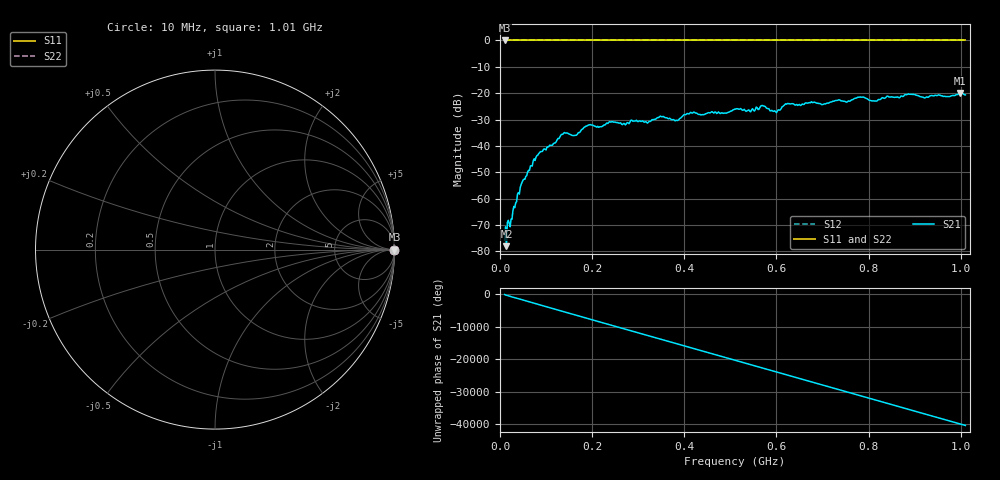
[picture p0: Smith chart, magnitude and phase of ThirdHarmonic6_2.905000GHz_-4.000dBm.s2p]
! 8/17/2025 8:02:15 AM
! C:\ANRITSUVNA\TEMP\TEMP.S2P
! CHANNEL.1
! TR.MEASUREMENT
! RAW.DATA
! RF.CORRECTION.OFF
! AVERAGING.OFF
! IF.BANDWIDTH: 5KHZ
! SWEEPTYPE:  FREQ.SWEEP(Linear)
! Reference Plane Port Info
! PORT:  PORT1  PORT2
! DISTANCE:  0  m  0  m
! TIME:  0  s  0  s
! PHASE.OFFSET:  0  deg.  0  deg.
! LOSS:  0  dB  0  dB
! REF.LOSS:  0  dB  0  dB
! REF.FREQ:  0  Hz  0  Hz
! Power Info
! POWER:  -20  dBm  -20  dBm
! EFF.POWER:  -20  dBm  -20  dBm
! SOURCE.ATTEN:  0  dB  0  dB
! TEST.ATTEN:  0  dB  0  dB
# GHZ S RI R 50.0
! FREQ.GHZ  S11RE  S11IM  S21RE  S21IM  S12RE  S12IM  S22RE  S22IM
!; PortSelection: Port_12
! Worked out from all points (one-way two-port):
!   501 points, 10 MHz to 1.01 GHz, reference 50 ohm
!   highest |S21| = -19.95 dB at 998 MHz (marker M1); lowest = -78.0 dB at 14 MHz (marker M2)
!   lowest |S11| = 0.0 dB at 10 MHz (marker M3)
!   |S11| at or under -10 dB: nowhere
!   |S22| runs from 0.0 to 0.0 dB; largest |S21 - S12| = 1.1
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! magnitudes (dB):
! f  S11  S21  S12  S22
! 10 MHz  0.0  -75.7  0.0  0.0
! 14 MHz  0.0  -78.0  0.0  0.0
! 48 MHz  0.0  -53.7  0.0  0.0
! 82 MHz  0.0  -43.5  0.0  0.0
! 136 MHz  0.0  -35.6  0.0  0.0
! 162 MHz  0.0  -36.0  0.0  0.0
! 178 MHz  0.0  -33.7  0.0  0.0
! 194 MHz  0.0  -32.0  0.0  0.0
! 322 MHz  0.0  -31.0  0.0  0.0
! 344 MHz  0.0  -29.3  0.0  0.0
! 384 MHz  0.0  -30.3  0.0  0.0
! 416 MHz  0.0  -27.5  0.0  0.0
! 510 MHz  0.0  -26.0  0.0  0.0
! 570 MHz  0.0  -24.7  0.0  0.0
! 598 MHz  0.0  -26.9  0.0  0.0
! 622 MHz  0.0  -24.2  0.0  0.0
! 678 MHz  0.0  -23.6  0.0  0.0
! 784 MHz  0.0  -21.5  0.0  0.0
! 814 MHz  0.0  -22.9  0.0  0.0
! 844 MHz  0.0  -21.4  0.0  0.0
! 998 MHz  0.0  -20.0  0.0  0.0
! 1.01 GHz  0.0  -20.7  0.0  0.0
